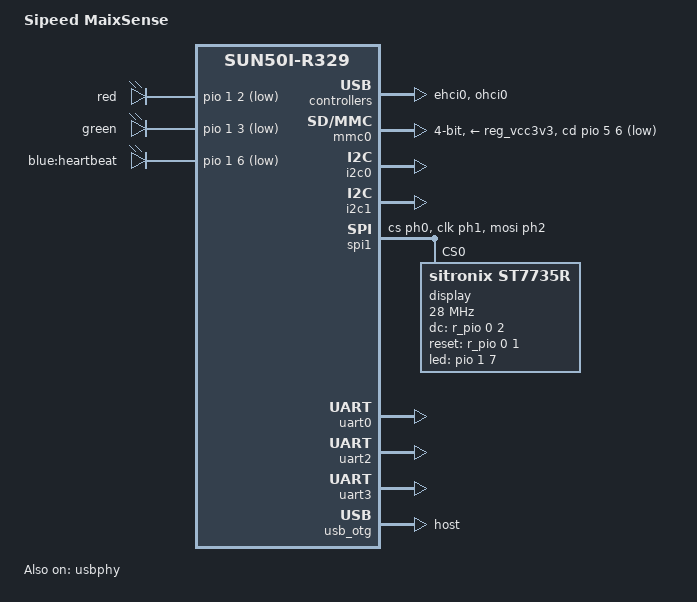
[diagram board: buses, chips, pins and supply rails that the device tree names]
// SPDX-License-Identifier: (GPL-2.0+ OR MIT)
// Copyright (c) 2021 Sipeed

/dts-v1/;

#include "sun50i-r329-maix-iia.dtsi"

#include <dt-bindings/input/input.h>
#include <dt-bindings/leds/common.h>
#include <dt-bindings/pwm/pwm.h>

/ {
	model = "Sipeed MaixSense";
	compatible = "sipeed,maixsense", "sipeed,maix-iia",
		     "allwinner,sun50i-r329";

	aliases {
		serial0 = &uart0;
        serial1 = &uart1;
        serial2 = &uart2;
        serial3 = &uart3;
        i2c0 = &i2c0;
		i2c1 = &i2c1;
		spi0 = &spi0;
		spi1 = &spi1;
		mmc0 = &mmc0;
		// pwm1 = &pwm1;
		// pwm2 = &pwm2;
		// pwm7 = &pwm7;
		// pwm8 = &pwm8;		
	};

	chosen {
		stdout-path = "serial0:115200n8";
	};

	backlight: backlight {
		status = "disable";
		compatible = "pwm-backlight";
		pwms = <&pwm 1 50000 PWM_POLARITY_INVERTED>;
		brightness-levels = <0 16 18 20 22 24 26 29 32 35 38 42 46 51 56 62 68 75 83 91 100>;
		default-brightness-level = <18>;
	};

	leds {
		compatible = "gpio-leds";
		status = "okay";

		led-0 {
			label = "red";
			gpios = <&pio 1 2 GPIO_ACTIVE_LOW>; /* PB2 */
		};

		led-1 {
			label = "green";
			gpios = <&pio 1 3 GPIO_ACTIVE_LOW>; /* PB3 */			
		};
		led-2 {
			label = "blue:heartbeat";
			gpios = <&pio 1 6 GPIO_ACTIVE_LOW>; /* PB6 */
			function = LED_FUNCTION_HEARTBEAT;
			linux,default-trigger = "heartbeat";				
		};
	};
};

&codec {
	status = "disable";
	allwinner,audio-routing =
		"Speaker", "SPKL",
		"MIC1", "Mic",
		"MIC2", "Mic",
		"Mic", "MBIAS",
		"Mic", "MBIAS";
};

&codec_analog {
	status = "disable";
};

&ehci0 {
	status = "okay";
};

&lradc {
	status = "disable";
};

&mmc0 {
	pinctrl-names = "default";
	pinctrl-0 = <&mmc0_pf_pins>;

	vmmc-supply = <&reg_vcc3v3>;
	bus-width = <4>;
	cd-gpios = <&pio 5 6 GPIO_ACTIVE_LOW>; /* PF6 */
	status = "okay";
};

&ohci0 {
	status = "okay";
};

&pwm {
	pinctrl-names = "default";
	pinctrl-0 = <&pwm7_pb7>;
	status = "disable";
};

&i2c0 {
	status = "okay";
};

&i2c1 {
	status = "okay";
};

&spi0 {
	pinctrl-names = "default";
	pinctrl-0 = <&spi0_clk_pc4>, <&spi0_mosi_pc3>, <&spi0_miso_pc1>;
	//<&spi0_cs_pc0>, 
	status = "disable";

	//ICM_20602 ICM_20689_CS
	// cs-gpios = <&pio 2 0 GPIO_ACTIVE_HIGH>,<&r_pio 0 2 GPIO_ACTIVE_HIGH>;
	// spidev@0 {
	// 	compatible = "spidev";
	// 	/* spi default max clock 100Mhz */
	// 	spi-max-frequency = <100000000>;
	// 	reg = <0>;
	// };

	// spidev@1 {
	// 	compatible = "spidev";
	// 	/* spi default max clock 100Mhz */
	// 	spi-max-frequency = <100000000>;
	// 	reg = <1>;
	// };

};

&spi1 {
	pinctrl-names = "default";
	pinctrl-0 = <&spi1_cs_ph0>, <&spi1_clk_ph1>, <&spi1_mosi_ph2>;

	status = "okay";

	display@0{
		compatible = "sitronix,st7735r";
		reg = <0>;
		// spi-cpol;
		// spi-cpha;
		bgr;
		rotate = <90>;
		fps = <30>;
		buswidth = <8>;
		spi-max-frequency = <28000000>;
		dc-gpios = <&r_pio 0 2 GPIO_ACTIVE_HIGH>;       //PL2
		reset-gpios = <&r_pio 0 1 GPIO_ACTIVE_HIGH>;	//PL1
		//backlight = <&backlight>;
		led-gpios = <&pio 1 7 GPIO_ACTIVE_HIGH>;
	};
};
//ABCDEFGHIJ K  L
//0123456789 10 11

&uart0 {
	pinctrl-names = "default";
	pinctrl-0 = <&uart0_pb_pins>;
	status = "okay";
};

&uart2 {
	pinctrl-names = "default";
	pinctrl-0 = <&uart2_pins>;
	status = "okay";
};

&uart2 {
	pinctrl-names = "default";
	pinctrl-0 = <&uart2_pb_pins>;
	status = "okay";
};

&uart3 {
	pinctrl-names = "default";
	pinctrl-0 = <&uart3_ph_pins>;
	status = "okay";
};

&usb_otg {
	dr_mode = "host";//"peripheral";//otg
	status = "okay";
};

&usbphy {
	// usb0_id_det-gpios = <&pio 1 3 GPIO_ACTIVE_HIGH>; /* PB3 */
	status = "okay";
};
